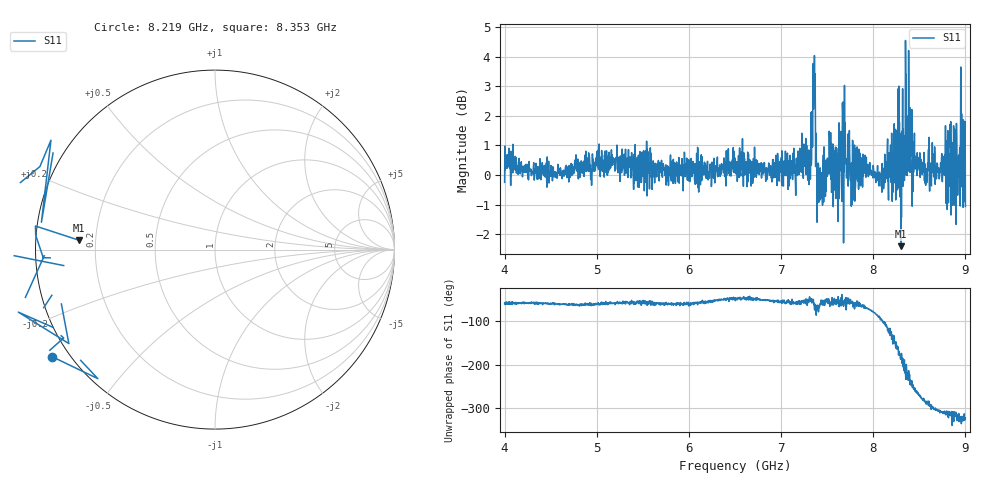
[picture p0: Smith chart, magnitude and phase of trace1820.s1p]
! Created with skrf 1.8.0 (http://scikit-rf.org).
# Hz S RI R 50.0
!freq ReS11 ImS11
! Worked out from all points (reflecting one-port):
!   1601 points, 4 GHz to 9 GHz, reference 50 ohm
!   lowest |S11| = -2.4 dB at 8.3 GHz (marker M1), VSWR 7.28, Z = 6.88 + j1.68 ohm
!   phase of S11 starts at -57 deg and turns -267 deg over the sweep
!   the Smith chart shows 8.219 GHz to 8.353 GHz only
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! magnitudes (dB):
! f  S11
! 4 GHz  -0.2
! 4.028 GHz  0.7
! 4.625 GHz  -0.1
! 5.25 GHz  0.3
! 5.875 GHz  0.1
! 6.5 GHz  0.4
! 7.125 GHz  -0.2
! 7.297 GHz  0.2
! 7.316 GHz  -0.1
! 7.347 GHz  3.8
! 7.369 GHz  3.4
! 7.397 GHz  -0.9
! 7.412 GHz  0.1
! 7.519 GHz  0.0
! 7.609 GHz  -0.5
! 7.672 GHz  2.5
! 7.75 GHz  0.0
! 8.075 GHz  -0.1
! 8.228 GHz  1.7
! 8.253 GHz  0.0
! 8.3 GHz  -2.4
! 8.322 GHz  -0.4
! 8.334 GHz  0.8
! 8.375 GHz  0.1
! 8.447 GHz  1.4
! 8.919 GHz  0.0
! 8.972 GHz  0.6
! 9 GHz  -1.1
